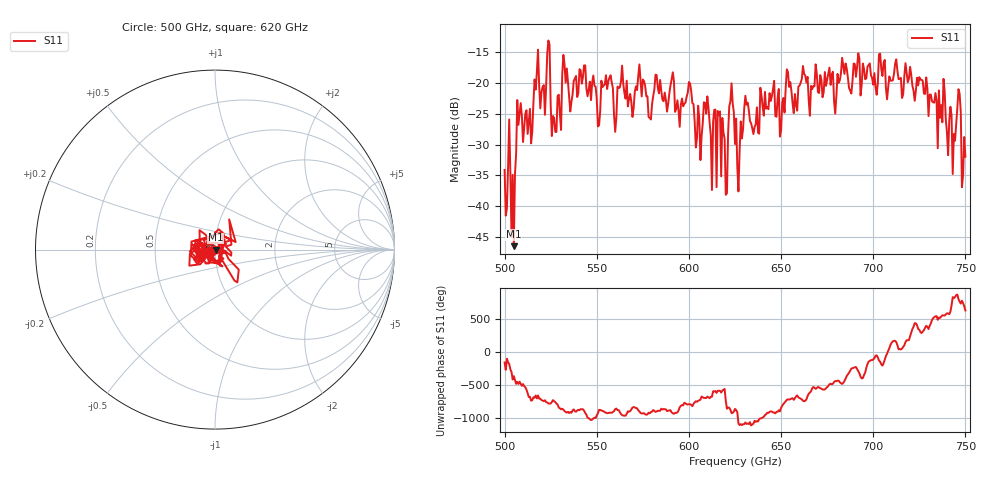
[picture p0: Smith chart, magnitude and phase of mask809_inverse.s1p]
!Created with skrf (http://scikit-rf.org).
# GHz S MA R 50.0
!freq magS11 angS11
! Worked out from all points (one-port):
!   401 points, 500 GHz to 750 GHz, reference 50 ohm
!   lowest |S11| = -46.5 dB at 505 GHz (marker M1), VSWR 1.01, Z = 50.5 - j0.0408 ohm
!   |S11| at or under -10 dB: start of sweep to end of sweep
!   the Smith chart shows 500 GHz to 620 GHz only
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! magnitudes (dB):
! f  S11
! 500 GHz  -34.1
! 505 GHz  -46.5
! 508.1 GHz  -25.0
! 513.8 GHz  -24.2
! 516.9 GHz  -21.1
! 520.6 GHz  -20.7
! 523.8 GHz  -13.1
! 526.9 GHz  -25.7
! 531.2 GHz  -18.7
! 560.6 GHz  -25.7
! 562.5 GHz  -20.7
! 578.8 GHz  -25.7
! 590.6 GHz  -19.4
! 593.8 GHz  -22.8
! 600.6 GHz  -20.1
! 605 GHz  -23.7
! 609.4 GHz  -25.0
! 620 GHz  -38.2
! 623.1 GHz  -20.1
! 625 GHz  -29.9
! 627.5 GHz  -31.1
! 631.2 GHz  -23.5
! 656.2 GHz  -23.4
! 687.5 GHz  -21.2
! 718.8 GHz  -19.9
! 743.8 GHz  -28.3
! 746.2 GHz  -21.0
! 750 GHz  -32.0
